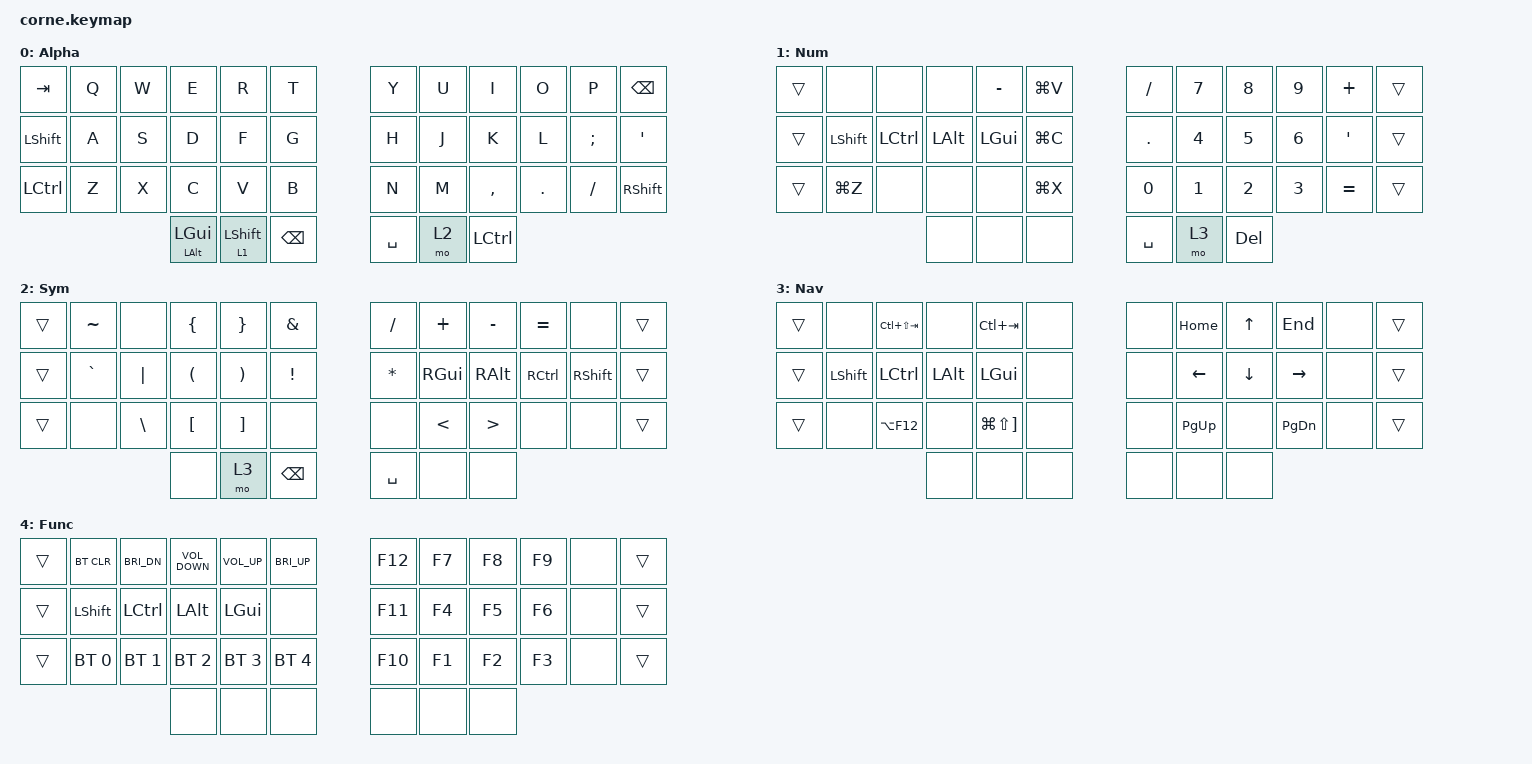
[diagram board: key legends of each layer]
#include <behaviors.dtsi>
#include <dt-bindings/zmk/bt.h>
#include <dt-bindings/zmk/keys.h>

#define ALPH 0
#define NUM 1
#define SYM 2
#define NAV 3
#define FUN 4

/ {
    
    combos {
        compatible = "zmk,combos";

        combo_quote {
            timeout-ms = <30>;
            bindings = <&kp SQT>;
            key-positions = <8 9>;
        };

        combo_tab {
            bindings = <&kp TAB>;
            key-positions = <27 28>;
        };

        combo_tac {
            bindings = <&kp MINUS>;
            key-positions = <2 3>;
        };

        combo_exclam {
            bindings = <&kp LS(NUMBER_1)>;
            key-positions = <16 17>;
        };

        combo_enter {
            bindings = <&kp ENTER>;
            key-positions = <31 32>;
        };

        combo_caps {
            bindings = <&caps_word>;
            key-positions = <29 30>;
        };

        combo_fun {
            bindings = <&mo 4>;
            key-positions = <36 41>;
        };

        combo_esc {
            bindings = <&kp ESC>;
            key-positions = <1 2>;
        };

        combo_mo3_1 {
            bindings = <&mo 3>;
            key-positions = <37 40>;
        };

        combo_mo3_2 {
            bindings = <&mo 3>;
            key-positions = <38 39>;
        };
    };

    //

    behaviors {
        skq: sticky_key_quick_release {
            compatible = "zmk,behavior-sticky-key";
            #binding-cells = <1>;
            bindings = <&kp>;
            release-after-ms = <1000>;
            quick-release;
        };

        rpi: require_prior_idle {
            compatible = "zmk,behavior-hold-tap";
            #binding-cells = <2>;
            flavor = "tap-preferred";
            tapping-term-ms = <200>;
            quick-tap-ms = <200>;
            require-prior-idle-ms = <125>;
            bindings = <&mo>, <&skq>;
        };

        rpi2: require_prior_idle2 {
            compatible = "zmk,behavior-hold-tap";
            #binding-cells = <2>;
            flavor = "tap-preferred";
            tapping-term-ms = <200>;
            quick-tap-ms = <200>;
            require-prior-idle-ms = <125>;
            bindings = <&kp>, <&skq>;
        };
    };

    keymap {
        compatible = "zmk,keymap";

        ALPH {
                display-name = "Alpha";
            // -----------------------------------------------------------------------------------------
            // |  Q  |  W  |  E  |  R  |  T  |   |  Y  |  U   |  I  |  O  |  P  |
            // |  A  |  S  |  D  |  F  |  G  |   |  H  |  J   |  K  |  L  |  ;  |
            // |  Z  |  X  |  C  |  V  |  B  |   |  N  |  M   |  ,  |  .  |  /  |
            // | GUI | CTRL | SHFT | LWR | SPC |   | ENT | RSE  | BKSP | ALT | ESC |

            bindings = <
&kp TAB    &kp Q       &kp W        &kp E       &kp R        &kp T        &kp Y    &kp U        &kp I          &kp O        &kp P          &kp BACKSPACE
&kp LSHFT  &kp A       &kp S        &kp D       &kp F        &kp G        &kp H    &kp J        &kp K          &kp L        &kp SEMICOLON  &kp SQT
&kp LCTRL  &kp Z       &kp X        &kp C       &kp V        &kp B        &kp N    &kp M        &kp COMMA      &kp DOT      &kp FSLH       &kp RSHFT
                                    &rpi2 LALT LGUI       &rpi 1 LSHFT    &kp BSPC     &kp SPACE    &mo 2  &kp LCTRL
            >;
        };

        NUM {
                display-name = "Num";
            // -----------------------------------------------------------------------------------------
            // |  TAB |  1  |  2  |  3  |  4  |  5  |   |  6  |  7  |  8  |  9  |  0  | BKSP |
            // | BTCLR| BT1 | BT2 | BT3 | BT4 | BT5 |   | LFT | DWN |  UP | RGT |     |      |
            // | SHFT |     |     |     |     |     |   |     |     |     |     |     |      |
            // | GUI | CTRL | SHFT | LWR | SPC |   | ENT | RSE  | BKSP | ALT | ESC |

            bindings = <
&trans  &none      &none      &none     &kp MINUS  &kp LG(V)    &kp FSLH  &kp N7     &kp N8   &kp N9  &kp PLUS   &trans
&trans  &kp LSHFT  &kp LCTRL  &kp LALT  &kp LGUI   &kp LG(C)    &kp DOT   &kp N4     &kp N5   &kp N6  &kp SQT    &trans
&trans  &kp LG(Z)  &none      &none     &none      &kp LG(X)    &kp N0    &kp N1     &kp N2   &kp N3  &kp EQUAL  &trans
                              &none     &none      &none        &kp SPACE  &mo 3  &kp DEL
            >;
        };

        SYM {
                display-name = "Sym";
            // -----------------------------------------------------------------------------------------
            // |  TAB |  !  |  @  |  #  |  $  |  %  |   |  ^  |  &  |  *  |  (  |  )  | BKSP |
            // | CTRL |     |     |     |     |     |   |  -  |  =  |  [  |  ]  |  \  |  `   |
            // | SHFT |     |     |     |     |     |   |  _  |  +  |  {  |  }  | "|" |  ~   |
            //                    | GUI |     | SPC |   | ENT |     | ALT |

            bindings = <
&trans  &kp TILDE  &none     &kp LEFT_BRACE        &kp RIGHT_BRACE        &kp AMPERSAND      &kp FSLH  &kp PLUS       &kp MINUS         &kp EQUAL  &none       &trans
&trans  &kp GRAVE  &kp PIPE  &kp LEFT_PARENTHESIS  &kp RIGHT_PARENTHESIS  &kp EXCLAMATION    &kp STAR  &kp RGUI       &kp RALT          &kp RCTRL  &kp RSHFT   &trans
&trans  &none      &kp BSLH  &kp LBKT              &kp RBKT               &none              &none     &kp LESS_THAN  &kp GREATER_THAN  &none      &none       &trans
                             &none                 &mo 3                  &kp BSPC           &kp SPACE      &none        &none
            >;
        };

        NAV {
                display-name = "Nav";
            bindings = <
&trans  &none      &kp LC(LS(TAB))  &none     &kp LC(TAB)       &none    &none  &kp HOME     &kp UP    &kp END        &none      &trans
&trans  &kp LSHFT  &kp LCTRL        &kp LALT  &kp LGUI          &none    &none  &kp LEFT     &kp DOWN  &kp RIGHT      &none      &trans
&trans  &none      &kp LA(F12)      &none     &kp LG(LS(RBKT))  &none    &none  &kp PAGE_UP  &none     &kp PAGE_DOWN  &none      &trans
                                    &none     &none             &none    &none  &none        &none
            >;
        };

        FUN {
                display-name = "Func";
            bindings = <
&trans  &bt BT_CLR    &kp C_BRI_DN  &kp C_VOLUME_DOWN  &kp C_VOLUME_UP  &kp C_BRI_UP    &kp F12  &kp F7     &kp F8   &kp F9  &none  &trans
&trans  &kp LSHFT     &kp LCTRL     &kp LALT           &kp LGUI         &none           &kp F11  &kp F4     &kp F5   &kp F6  &none  &trans
&trans  &bt BT_SEL 0  &bt BT_SEL 1  &bt BT_SEL 2       &bt BT_SEL 3     &bt BT_SEL 4    &kp F10  &kp F1     &kp F2   &kp F3  &none  &trans
                                    &none              &none         &none           &none    &none  &none
            >;
        };
    };
};
